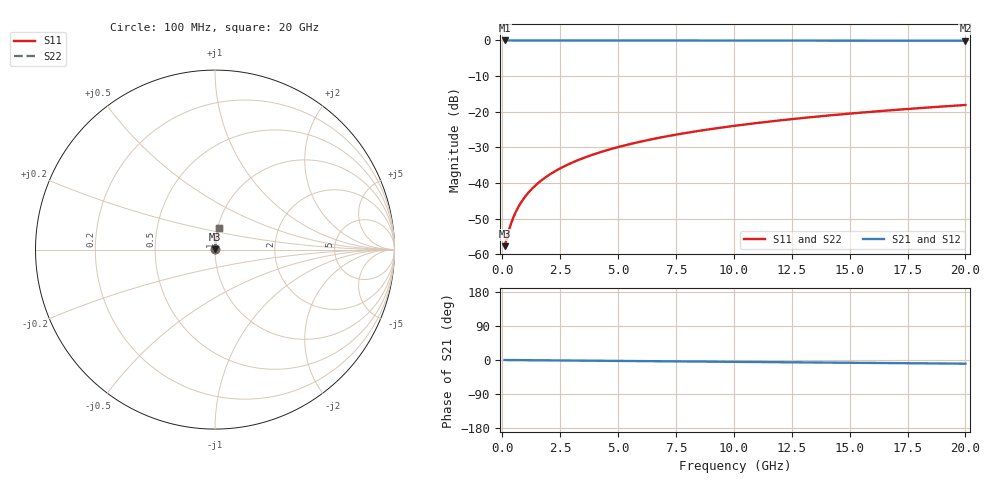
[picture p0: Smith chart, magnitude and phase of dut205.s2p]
! Touchstone file exported from HFSS 2026.1.0
!  File:  C:/ffzhzh/LocalFiles/Ansys_Project_Files/temp_train_TSV_205_1782991818_40604.aedt
!  Generated:  07:32:37 PM Jul  2, 2026
!  Design:  TSV
!  Project:  temp_train_TSV_205_1782991818_40604
! Variables:
!  h_bsmrdl = 2um
!  h_ox = 20um
!  h_rdl = 5um
!  h_sub = 57.31um
!  h_tmrdl = 5um
!  h_tsv = 57.31um
!  h_via = 3um
!  l_bsmrdl = 300um
!  l_sub = 404.9um
!  l_tmrdl = 200um
!  m_sub = 200um
!  pitch = 51.71um
!  r_tsv = 2.45um
!  s_tmrdl = 10um
!  w_bsmrdl = 18um
!  w_sub = 500um
!  w_tmrdl = 12um
!  x_tsv_center1 = 206um
!  x_tsv_center2 = 524um
!  x_tsv_center3 = 736um
!  x_tsv_center4 = 1054um
!  x_tsv_center5 = 1266um
!  x_tsv_center6 = 1584um
# GHz S MA R 50.000000
! Terminal data exported
! Port[1] = TSV1_1_T1
! Port[2] = TSV1_1_T2
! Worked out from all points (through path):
!   200 points, 100 MHz to 20 GHz, reference 50 ohm
!   highest |S21| = -0.01 dB at 100 MHz (marker M1); lowest = -0.1 dB at 20 GHz (marker M2)
!   group delay of S21, straight-line fit = 1.35 ps
!   lowest |S11| = -57.8 dB at 100 MHz (marker M3), VSWR 1.00, Z = 50.1 + j0.0647 ohm
!   |S11| at or under -10 dB: start of sweep to end of sweep
!   |S22| runs from -57.8 to -18.1 dB; largest |S21 - S12| = 4.5e-15
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0.1  0.001295 29.9  0.9989 -0.0  0.9989 -0.0  0.001295 29.9
! Gamma 0 0 0 0
! Port Impedance 50 0 50 0
0.3  0.002241 59.5  0.9989 -0.1  0.9989 -0.1  0.002241 59.5
0.4  0.002816 66.0  0.9989 -0.2  0.9989 -0.2  0.002816 66.0
0.5  0.003413 70.2  0.9989 -0.2  0.9989 -0.2  0.003413 70.2
0.6  0.004022 73.1  0.9988 -0.3  0.9988 -0.3  0.004022 73.1
0.7  0.004638 75.2  0.9988 -0.3  0.9988 -0.3  0.004638 75.2
0.9  0.005883 78.1  0.9988 -0.4  0.9988 -0.4  0.005883 78.1
1.2  0.007767 80.7  0.9988 -0.6  0.9988 -0.6  0.007767 80.7
1.4  0.009028 81.8  0.9988 -0.7  0.9988 -0.7  0.009028 81.8
1.7  0.01093 82.9  0.9987 -0.8  0.9987 -0.8  0.01093 82.9
2.2  0.01409 83.9  0.9987 -1.1  0.9987 -1.1  0.01409 83.9
2.8  0.0179 84.6  0.9986 -1.4  0.9986 -1.4  0.0179 84.6
3.5  0.02234 84.9  0.9985 -1.7  0.9985 -1.7  0.02234 84.9
4.2  0.02678 85.0  0.9983 -2.1  0.9983 -2.1  0.02678 85.0
5  0.03184 85.0  0.9981 -2.5  0.9981 -2.5  0.03184 85.0
5.9  0.03752 84.8  0.9978 -2.9  0.9978 -2.9  0.03752 84.8
6.8  0.04318 84.5  0.9975 -3.3  0.9975 -3.3  0.04318 84.5
8.3  0.05258 84.0  0.9969 -4.1  0.9969 -4.1  0.05258 84.0
10.1  0.06378 83.3  0.996 -5.0  0.996 -5.0  0.06378 83.3
13.4  0.08414 81.9  0.9942 -6.5  0.9942 -6.5  0.08414 81.9
16.7  0.1042 80.4  0.9919 -8.1  0.9919 -8.1  0.1042 80.4
20  0.1241 79.0  0.9894 -9.7  0.9894 -9.7  0.1241 79.0
